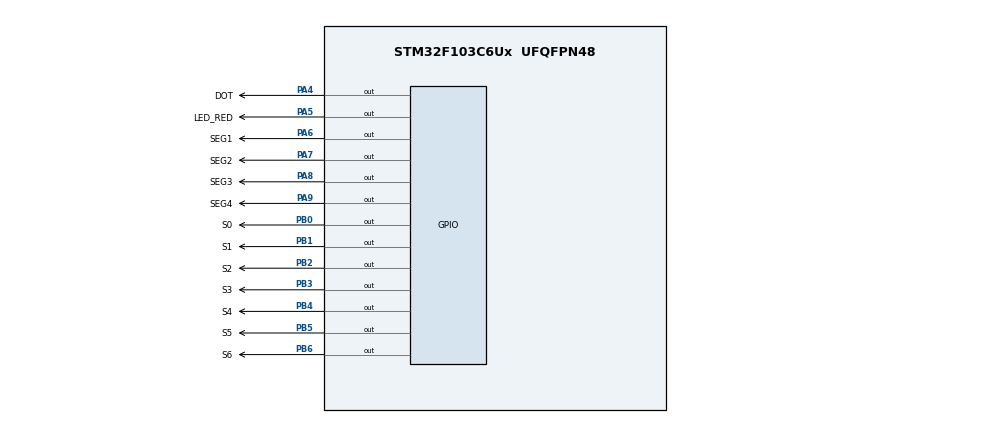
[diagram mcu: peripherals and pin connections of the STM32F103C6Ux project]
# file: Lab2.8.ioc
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Mcu.Family=STM32F1
Mcu.Name=STM32F103C6Ux
Mcu.Package=UFQFPN48
NVIC.PriorityGroup=NVIC_PRIORITYGROUP_4
NVIC.TIM2_IRQn=true\:0\:0\:false\:false\:true\:true\:true
PA4.GPIO_Label=DOT
PA4.Signal=GPIO_Output
PA5.GPIO_Label=LED_RED
PA5.Signal=GPIO_Output
PA6.GPIO_Label=SEG1
PA6.Signal=GPIO_Output
PA7.GPIO_Label=SEG2
PA7.Signal=GPIO_Output
PA8.GPIO_Label=SEG3
PA8.Signal=GPIO_Output
PA9.GPIO_Label=SEG4
PA9.Signal=GPIO_Output
PB0.GPIO_Label=S0
PB0.Signal=GPIO_Output
PB1.GPIO_Label=S1
PB1.Signal=GPIO_Output
PB2.GPIO_Label=S2
PB2.Signal=GPIO_Output
PB3.GPIO_Label=S3
PB3.Signal=GPIO_Output
PB4.GPIO_Label=S4
PB4.Signal=GPIO_Output
PB5.GPIO_Label=S5
PB5.Signal=GPIO_Output
PB6.GPIO_Label=S6
PB6.Signal=GPIO_Output
ProjectManager.HeapSize=0x200
ProjectManager.StackSize=0x400
ProjectManager.TargetToolchain=STM32CubeIDE
RCC.APB1Freq_Value=8000000
RCC.APB2Freq_Value=8000000
TIM2.Period=9
TIM2.Prescaler=7999
VP_SYS_VS_ND.Mode=No_Debug
VP_TIM2_VS_ClockSourceINT.Mode=Internal
board=custom

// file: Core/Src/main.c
/* USER CODE BEGIN Header */
/**
  ******************************************************************************
  * @file           : main.c
  * @brief          : Main program body
  ******************************************************************************
  * @attention
  *
  * <h2><center>&copy; Copyright (c) 2022 STMicroelectronics.
  * All rights reserved.</center></h2>
  *
  * This software component is licensed by ST under BSD 3-Clause license,
  * the "License"; You may not use this file except in compliance with the
  * License. You may obtain a copy of the License at:
  *                        opensource.org/licenses/BSD-3-Clause
  *
  ******************************************************************************
  */
/* USER CODE END Header */
#include "main.h"

TIM_HandleTypeDef htim2;

void SystemClock_Config(void);
static void MX_GPIO_Init(void);
static void MX_TIM2_Init(void);

/* USER CODE BEGIN 0 */
const int MAX_LED = 4;
int index_led = 0;
int led_buffer[4] = {1, 2, 3, 4};
int hour = 15 , minute = 8 , second = 50;
int timer0_counter = 0;
int timer0_flag = 0;
int TIMER_CYCLE = 10;
int timer1_counter = 0;
int timer1_flag = 0;
void setTimer0 ( int duration ) {
timer0_counter = duration/TIMER_CYCLE ;
timer0_flag = 0;
}
void setTimer1 ( int duration ) {
timer1_counter = duration/TIMER_CYCLE ;
timer1_flag = 0;
}
void timer_run () {
if( timer0_counter > 0) {
timer0_counter--;
if( timer0_counter == 0) timer0_flag = 1;
}
}
void timer1_run () {
if( timer1_counter > 0) {
timer1_counter--;
if( timer1_counter == 0) timer1_flag = 1;
}
}
void display7SEG(int num)
{
	switch(num)
	{
	case 0:
	HAL_GPIO_WritePin ( S0_GPIO_Port, S0_Pin, RESET);
	HAL_GPIO_WritePin ( S1_GPIO_Port, S1_Pin, RESET);
	HAL_GPIO_WritePin ( S2_GPIO_Port, S2_Pin, RESET);
	HAL_GPIO_WritePin ( S3_GPIO_Port, S3_Pin, RESET);
	HAL_GPIO_WritePin ( S4_GPIO_Port, S4_Pin, RESET);
	HAL_GPIO_WritePin ( S5_GPIO_Port, S5_Pin, RESET);
	HAL_GPIO_WritePin ( S6_GPIO_Port, S6_Pin, SET);
	break;
	case 1:
	HAL_GPIO_WritePin ( S0_GPIO_Port, S0_Pin, SET);
	HAL_GPIO_WritePin ( S1_GPIO_Port, S1_Pin, RESET);
	HAL_GPIO_WritePin ( S2_GPIO_Port, S2_Pin, RESET);
	HAL_GPIO_WritePin ( S3_GPIO_Port, S3_Pin, SET);
	HAL_GPIO_WritePin ( S4_GPIO_Port, S4_Pin, SET);
	HAL_GPIO_WritePin ( S5_GPIO_Port, S5_Pin, SET);
	HAL_GPIO_WritePin ( S6_GPIO_Port, S6_Pin, SET);
	break;
	case 2:
	HAL_GPIO_WritePin ( S0_GPIO_Port, S0_Pin, RESET);
	HAL_GPIO_WritePin ( S1_GPIO_Port, S1_Pin, RESET);
	HAL_GPIO_WritePin ( S2_GPIO_Port, S2_Pin, SET);
	HAL_GPIO_WritePin ( S3_GPIO_Port, S3_Pin, RESET);
	HAL_GPIO_WritePin ( S4_GPIO_Port, S4_Pin, RESET);
	HAL_GPIO_WritePin ( S5_GPIO_Port, S5_Pin, SET);
	HAL_GPIO_WritePin ( S6_GPIO_Port, S6_Pin, RESET);
	break;
	case 3:
	HAL_GPIO_WritePin ( S0_GPIO_Port, S0_Pin, RESET);
	HAL_GPIO_WritePin ( S1_GPIO_Port, S1_Pin, RESET);
	HAL_GPIO_WritePin ( S2_GPIO_Port, S2_Pin, RESET);
	HAL_GPIO_WritePin ( S3_GPIO_Port, S3_Pin, RESET);
	HAL_GPIO_WritePin ( S4_GPIO_Port, S4_Pin, SET);
	HAL_GPIO_WritePin ( S5_GPIO_Port, S5_Pin, SET);
	HAL_GPIO_WritePin ( S6_GPIO_Port, S6_Pin, RESET);
	break;
	case 4:
	HAL_GPIO_WritePin ( S0_GPIO_Port, S0_Pin, SET);
	HAL_GPIO_WritePin ( S1_GPIO_Port, S1_Pin, RESET);
	HAL_GPIO_WritePin ( S2_GPIO_Port, S2_Pin, RESET);
	HAL_GPIO_WritePin ( S3_GPIO_Port, S3_Pin, SET);
	HAL_GPIO_WritePin ( S4_GPIO_Port, S4_Pin, SET);
	HAL_GPIO_WritePin ( S5_GPIO_Port, S5_Pin, RESET);
	HAL_GPIO_WritePin ( S6_GPIO_Port, S6_Pin, RESET);
	break;
	case 5:
	HAL_GPIO_WritePin ( S0_GPIO_Port, S0_Pin, RESET);
	HAL_GPIO_WritePin ( S1_GPIO_Port, S1_Pin, SET);
	HAL_GPIO_WritePin ( S2_GPIO_Port, S2_Pin, RESET);
	HAL_GPIO_WritePin ( S3_GPIO_Port, S3_Pin, RESET);
	HAL_GPIO_WritePin ( S4_GPIO_Port, S4_Pin, SET);
	HAL_GPIO_WritePin ( S5_GPIO_Port, S5_Pin, RESET);
	HAL_GPIO_WritePin ( S6_GPIO_Port, S6_Pin, RESET);
	break;
	case 6:
	HAL_GPIO_WritePin ( S0_GPIO_Port, S0_Pin, RESET);
	HAL_GPIO_WritePin ( S1_GPIO_Port, S1_Pin, SET);
	HAL_GPIO_WritePin ( S2_GPIO_Port, S2_Pin, RESET);
	HAL_GPIO_WritePin ( S3_GPIO_Port, S3_Pin, RESET);
	HAL_GPIO_WritePin ( S4_GPIO_Port, S4_Pin, RESET);
	HAL_GPIO_WritePin ( S5_GPIO_Port, S5_Pin, RESET);
	HAL_GPIO_WritePin ( S6_GPIO_Port, S6_Pin, RESET);
	break;
	case 7:
	HAL_GPIO_WritePin ( S0_GPIO_Port, S0_Pin, RESET);
	HAL_GPIO_WritePin ( S1_GPIO_Port, S1_Pin, RESET);
	HAL_GPIO_WritePin ( S2_GPIO_Port, S2_Pin, RESET);
	HAL_GPIO_WritePin ( S3_GPIO_Port, S3_Pin, SET);
	HAL_GPIO_WritePin ( S4_GPIO_Port, S4_Pin, SET);
	HAL_GPIO_WritePin ( S5_GPIO_Port, S5_Pin, SET);
	HAL_GPIO_WritePin ( S6_GPIO_Port, S6_Pin, SET);
	break;
	case 8:
	HAL_GPIO_WritePin ( S0_GPIO_Port, S0_Pin, RESET);
	HAL_GPIO_WritePin ( S1_GPIO_Port, S1_Pin, RESET);
	HAL_GPIO_WritePin ( S2_GPIO_Port, S2_Pin, RESET);
	HAL_GPIO_WritePin ( S3_GPIO_Port, S3_Pin, RESET);
	HAL_GPIO_WritePin ( S4_GPIO_Port, S4_Pin, RESET);
	HAL_GPIO_WritePin ( S5_GPIO_Port, S5_Pin, RESET);
	HAL_GPIO_WritePin ( S6_GPIO_Port, S6_Pin, RESET);
	break;
	default:
	HAL_GPIO_WritePin ( S0_GPIO_Port, S0_Pin, RESET);
	HAL_GPIO_WritePin ( S1_GPIO_Port, S1_Pin, RESET);
	HAL_GPIO_WritePin ( S2_GPIO_Port, S2_Pin, RESET);
	HAL_GPIO_WritePin ( S3_GPIO_Port, S3_Pin, RESET);
	HAL_GPIO_WritePin ( S4_GPIO_Port, S4_Pin, SET);
	HAL_GPIO_WritePin ( S5_GPIO_Port, S5_Pin, RESET);
	HAL_GPIO_WritePin ( S6_GPIO_Port, S6_Pin, RESET);
	}
}
void update7SEG (int index) {
	switch(index) {
	case 0:
		HAL_GPIO_WritePin(SEG1_GPIO_Port, SEG1_Pin, RESET);
		HAL_GPIO_WritePin(SEG2_GPIO_Port, SEG2_Pin, SET);
		HAL_GPIO_WritePin(SEG3_GPIO_Port, SEG3_Pin, SET);
		HAL_GPIO_WritePin(SEG4_GPIO_Port, SEG4_Pin, SET);
		display7SEG(led_buffer[index]);
		break;
	case 1:
		HAL_GPIO_WritePin(SEG1_GPIO_Port, SEG1_Pin, SET);
		HAL_GPIO_WritePin(SEG2_GPIO_Port, SEG2_Pin, RESET);
		HAL_GPIO_WritePin(SEG3_GPIO_Port, SEG3_Pin, SET);
		HAL_GPIO_WritePin(SEG4_GPIO_Port, SEG4_Pin, SET);
		display7SEG(led_buffer[index]);
		break;
	case 2:
		HAL_GPIO_WritePin(SEG1_GPIO_Port, SEG1_Pin, SET);
		HAL_GPIO_WritePin(SEG2_GPIO_Port, SEG2_Pin, SET);
		HAL_GPIO_WritePin(SEG3_GPIO_Port, SEG3_Pin, RESET);
		HAL_GPIO_WritePin(SEG4_GPIO_Port, SEG4_Pin, SET);
		display7SEG(led_buffer[index]);
		break;
	case 3:
		HAL_GPIO_WritePin(SEG1_GPIO_Port, SEG1_Pin, SET);
		HAL_GPIO_WritePin(SEG2_GPIO_Port, SEG2_Pin, SET);
		HAL_GPIO_WritePin(SEG3_GPIO_Port, SEG3_Pin, SET);
		HAL_GPIO_WritePin(SEG4_GPIO_Port, SEG4_Pin, RESET);
		display7SEG(led_buffer[index]);
		break;
	default:
		break;
	}
}
void updateClockBuffer() {
	led_buffer[0] = hour/10;
	led_buffer[1] = hour%10;
	led_buffer[2] = minute/10;
	led_buffer[3] = minute%10;
}
/* USER CODE END 0 */

int main(void)
{

  /* MCU Configuration--------------------------------------------------------*/

  /* Reset of all peripherals, Initializes the Flash interface and the Systick. */
  HAL_Init();

  /* Configure the system clock */
  SystemClock_Config();

  /* Initialize all configured peripherals */
  MX_GPIO_Init();
  MX_TIM2_Init();
  /* USER CODE BEGIN 2 */
  HAL_TIM_Base_Start_IT(&htim2);
  /* USER CODE END 2 */

  /* Infinite loop */
  /* USER CODE BEGIN WHILE */
  setTimer0(1000);
  setTimer1(250);
  while (1)
  {
	  if( timer0_flag == 1) {
	  HAL_GPIO_TogglePin ( LED_RED_GPIO_Port , LED_RED_Pin) ;
	  HAL_GPIO_TogglePin ( DOT_GPIO_Port , DOT_Pin) ;
	  second ++;
	  if ( second >= 60) {
	  second = 0;
	  minute ++;
	  }
	  if( minute >= 60) {
	  minute = 0;
	  hour ++;
	  }
	  if( hour >=24) {
	  hour = 0;
	  }
	  updateClockBuffer () ;
	  setTimer0 (1000) ;
	  }
	  if (timer1_flag == 1) {
		  update7SEG(index_led++);
		  if (index_led>=MAX_LED) {
			  index_led=0;
		  }
		  setTimer1(250);
	  }
    /* USER CODE END WHILE */

  }
}

void SystemClock_Config(void)
{
  RCC_OscInitTypeDef RCC_OscInitStruct = {0};
  RCC_ClkInitTypeDef RCC_ClkInitStruct = {0};

  /** Initializes the RCC Oscillators according to the specified parameters
  * in the RCC_OscInitTypeDef structure.
  */
  RCC_OscInitStruct.OscillatorType = RCC_OSCILLATORTYPE_HSI;
  RCC_OscInitStruct.HSIState = RCC_HSI_ON;
  RCC_OscInitStruct.HSICalibrationValue = RCC_HSICALIBRATION_DEFAULT;
  RCC_OscInitStruct.PLL.PLLState = RCC_PLL_NONE;
  if (HAL_RCC_OscConfig(&RCC_OscInitStruct) != HAL_OK)
  {
    Error_Handler();
  }
  /** Initializes the CPU, AHB and APB buses clocks
  */
  RCC_ClkInitStruct.ClockType = RCC_CLOCKTYPE_HCLK|RCC_CLOCKTYPE_SYSCLK
                              |RCC_CLOCKTYPE_PCLK1|RCC_CLOCKTYPE_PCLK2;
  RCC_ClkInitStruct.SYSCLKSource = RCC_SYSCLKSOURCE_HSI;
  RCC_ClkInitStruct.AHBCLKDivider = RCC_SYSCLK_DIV1;
  RCC_ClkInitStruct.APB1CLKDivider = RCC_HCLK_DIV1;
  RCC_ClkInitStruct.APB2CLKDivider = RCC_HCLK_DIV1;

  if (HAL_RCC_ClockConfig(&RCC_ClkInitStruct, FLASH_LATENCY_0) != HAL_OK)
  {
    Error_Handler();
  }
}

static void MX_TIM2_Init(void)
{

  TIM_ClockConfigTypeDef sClockSourceConfig = {0};
  TIM_MasterConfigTypeDef sMasterConfig = {0};

  htim2.Instance = TIM2;
  htim2.Init.Prescaler = 7999;
  htim2.Init.CounterMode = TIM_COUNTERMODE_UP;
  htim2.Init.Period = 9;
  htim2.Init.ClockDivision = TIM_CLOCKDIVISION_DIV1;
  htim2.Init.AutoReloadPreload = TIM_AUTORELOAD_PRELOAD_DISABLE;
  if (HAL_TIM_Base_Init(&htim2) != HAL_OK)
  {
    Error_Handler();
  }
  sClockSourceConfig.ClockSource = TIM_CLOCKSOURCE_INTERNAL;
  if (HAL_TIM_ConfigClockSource(&htim2, &sClockSourceConfig) != HAL_OK)
  {
    Error_Handler();
  }
  sMasterConfig.MasterOutputTrigger = TIM_TRGO_RESET;
  sMasterConfig.MasterSlaveMode = TIM_MASTERSLAVEMODE_DISABLE;
  if (HAL_TIMEx_MasterConfigSynchronization(&htim2, &sMasterConfig) != HAL_OK)
  {
    Error_Handler();
  }

}

static void MX_GPIO_Init(void)
{
  GPIO_InitTypeDef GPIO_InitStruct = {0};

  /* GPIO Ports Clock Enable */
  __HAL_RCC_GPIOA_CLK_ENABLE();
  __HAL_RCC_GPIOB_CLK_ENABLE();

  /*Configure GPIO pin Output Level */
  HAL_GPIO_WritePin(GPIOA, DOT_Pin|LED_RED_Pin|SEG1_Pin|SEG2_Pin
                          |SEG3_Pin|SEG4_Pin, GPIO_PIN_SET);

  /*Configure GPIO pin Output Level */
  HAL_GPIO_WritePin(GPIOB, S0_Pin|S1_Pin|S2_Pin|S3_Pin
                          |S4_Pin|S5_Pin|S6_Pin, GPIO_PIN_SET);

  /*Configure GPIO pins : DOT_Pin LED_RED_Pin SEG1_Pin SEG2_Pin
                           SEG3_Pin SEG4_Pin */
  GPIO_InitStruct.Pin = DOT_Pin|LED_RED_Pin|SEG1_Pin|SEG2_Pin
                          |SEG3_Pin|SEG4_Pin;
  GPIO_InitStruct.Mode = GPIO_MODE_OUTPUT_PP;
  GPIO_InitStruct.Pull = GPIO_NOPULL;
  GPIO_InitStruct.Speed = GPIO_SPEED_FREQ_LOW;
  HAL_GPIO_Init(GPIOA, &GPIO_InitStruct);

  /*Configure GPIO pins : S0_Pin S1_Pin S2_Pin S3_Pin
                           S4_Pin S5_Pin S6_Pin */
  GPIO_InitStruct.Pin = S0_Pin|S1_Pin|S2_Pin|S3_Pin
                          |S4_Pin|S5_Pin|S6_Pin;
  GPIO_InitStruct.Mode = GPIO_MODE_OUTPUT_PP;
  GPIO_InitStruct.Pull = GPIO_NOPULL;
  GPIO_InitStruct.Speed = GPIO_SPEED_FREQ_LOW;
  HAL_GPIO_Init(GPIOB, &GPIO_InitStruct);

}

/* USER CODE BEGIN 4 */
void HAL_TIM_PeriodElapsedCallback(TIM_HandleTypeDef *htim) {
	timer_run();
	timer1_run();
}
/* USER CODE END 4 */

void Error_Handler(void)
{
  __disable_irq();
  while (1)
  {
  }
}

/************************ (C) COPYRIGHT STMicroelectronics *****END OF FILE****/
